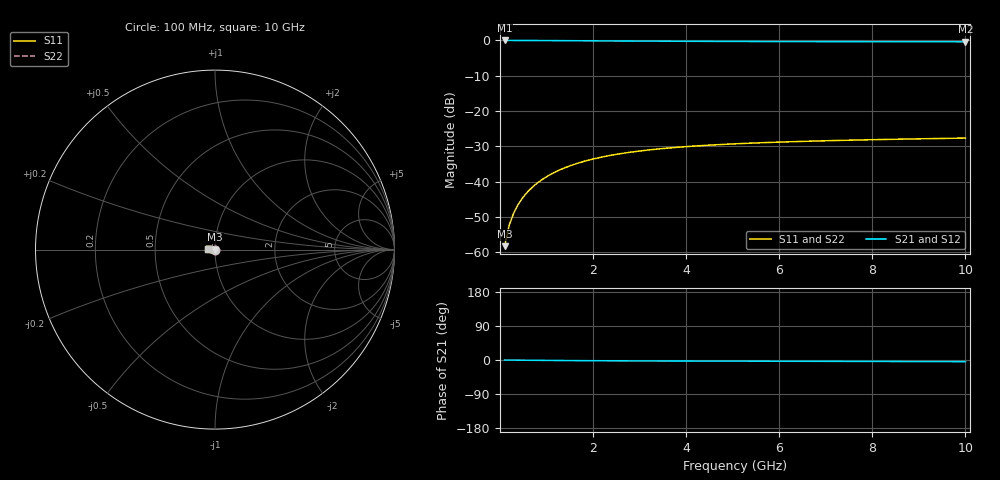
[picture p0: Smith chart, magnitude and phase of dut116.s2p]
! Touchstone file exported from HFSS 2024.1.0
!  File:  C:/UserFiles/LocalFiles/RDL_TSV_Batchsim/temp_TSV1_116_1779378207.aedt
!  Generated:  11:48:57 PM May 21, 2026
!  Design:  TSV1
!  Project:  temp_TSV1_116_1779378207
!  Setup:  Setup1
!  Solution:  Sweep
! Variables:
!  dtsv = 12.89um
!  hbump = 3um
!  htsv = 64.36um
!  lrdl = 252.1521522um
!  p = 40
!  p1 = 57.22um
!  t = 500um
!  trdl = 3um
!  wrdl = 24.89489489um
# GHz S MA R 50.000000
! Terminal data exported
! Port[1] = TSV22_T1
! Port[2] = TSV22_T2
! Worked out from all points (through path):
!   100 points, 100 MHz to 10 GHz, reference 50 ohm
!   highest |S21| = 0.00 dB at 100 MHz (marker M1); lowest = -0.4 dB at 10 GHz (marker M2)
!   lowest |S11| = -58.3 dB at 100 MHz (marker M3), VSWR 1.00, Z = 50 - j0.122 ohm
!   |S11| at or under -10 dB: start of sweep to end of sweep
!   |S22| runs from -58.3 to -27.6 dB; largest |S21 - S12| = 3.1e-15
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0.1  0.001222 -88.3  0.9999 -0.1  0.9999 -0.1  0.001222 -88.3
! Gamma 0 0 0 0
! Port Impedance 50 0 50 0
0.2  0.002441 -91.9  0.9997 -0.2  0.9997 -0.2  0.002441 -91.9
0.3  0.003658 -94.4  0.9995 -0.3  0.9995 -0.3  0.003658 -94.4
0.4  0.004868 -96.7  0.9992 -0.5  0.9992 -0.5  0.004868 -96.7
0.5  0.006066 -98.8  0.9988 -0.6  0.9988 -0.6  0.006066 -98.8
0.6  0.007249 -100.8  0.9984 -0.7  0.9984 -0.7  0.007249 -100.8
0.7  0.008412 -102.8  0.9979 -0.8  0.9979 -0.8  0.008412 -102.8
0.8  0.009552 -104.8  0.9973 -0.9  0.9973 -0.9  0.009552 -104.8
0.9  0.01067 -106.7  0.9967 -1.0  0.9967 -1.0  0.01067 -106.7
1.1  0.01282 -110.4  0.9953 -1.2  0.9953 -1.2  0.01282 -110.4
1.4  0.01581 -115.7  0.9929 -1.4  0.9929 -1.4  0.01581 -115.7
1.6  0.01765 -119.0  0.9912 -1.6  0.9912 -1.6  0.01765 -119.0
1.8  0.01936 -122.2  0.9895 -1.7  0.9895 -1.7  0.01936 -122.2
2.1  0.02169 -126.7  0.9869 -1.9  0.9869 -1.9  0.02169 -126.7
2.5  0.02438 -132.1  0.9835 -2.1  0.9835 -2.1  0.02438 -132.1
2.9  0.02667 -136.9  0.9804 -2.3  0.9804 -2.3  0.02667 -136.9
3.4  0.02905 -142.3  0.9768 -2.5  0.9768 -2.5  0.02905 -142.3
4.2  0.03201 -149.7  0.9721 -2.8  0.9721 -2.8  0.03201 -149.7
5.1  0.03448 -156.6  0.968 -3.0  0.968 -3.0  0.03448 -156.6
6.7  0.03754 -166.4  0.9629 -3.5  0.9629 -3.5  0.03754 -166.4
8.4  0.03979 -174.6  0.9594 -3.9  0.9594 -3.9  0.03979 -174.6
10  0.04146 178.9  0.9572 -4.3  0.9572 -4.3  0.04146 178.9
